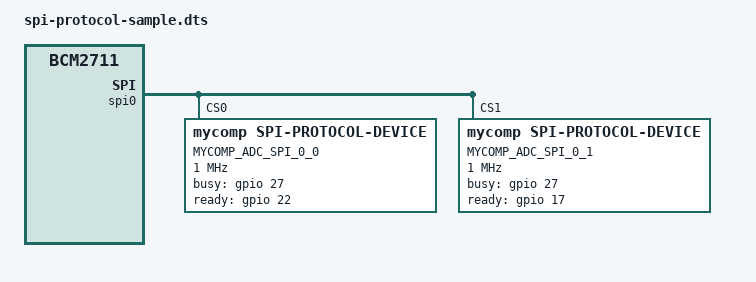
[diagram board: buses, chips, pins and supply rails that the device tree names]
/dts-v1/;
/plugin/;
/ {
	compatible = "brcm,bcm2711";

        fragment@0 {
                target = <&spidev0>;
                __overlay__ {
                        status = "disabled";
                };
        };

        fragment@1 {
                target = <&spidev1>;
                __overlay__ {
                        status = "disabled";
                };
        };

        fragment@2 {
                target = <&spi0>;
                __overlay__ {
                        status = "okay";
                        #address-cells = <1>;
                        #size-cells = <0>;

                        MYCOMP_ADC_SPI_0_0: spi_protocol_device@0 {
                                compatible = "mycomp,spi-protocol-device";
                                reg = <0x0>;
                                spi-max-frequency = <1000000>;
                                spi-bits-per-word = <8>;
				mycomp,busy-gpios = <&gpio 27 0>; 
				mycomp,ready-gpios = <&gpio 22 0>; 
                                status = "okay";
                        };

                        MYCOMP_ADC_SPI_0_1: spi_protocol_device@1 {
                                compatible = "mycomp,spi-protocol-device";
                                reg = <0x1>;
                                spi-max-frequency = <1000000>;
                                spi-bits-per-word = <8>;
				mycomp,busy-gpios = <&gpio 27 0>; 
				mycomp,ready-gpios = <&gpio 17 0>; 
                                status = "okay";
                        };
                };
        };
};
